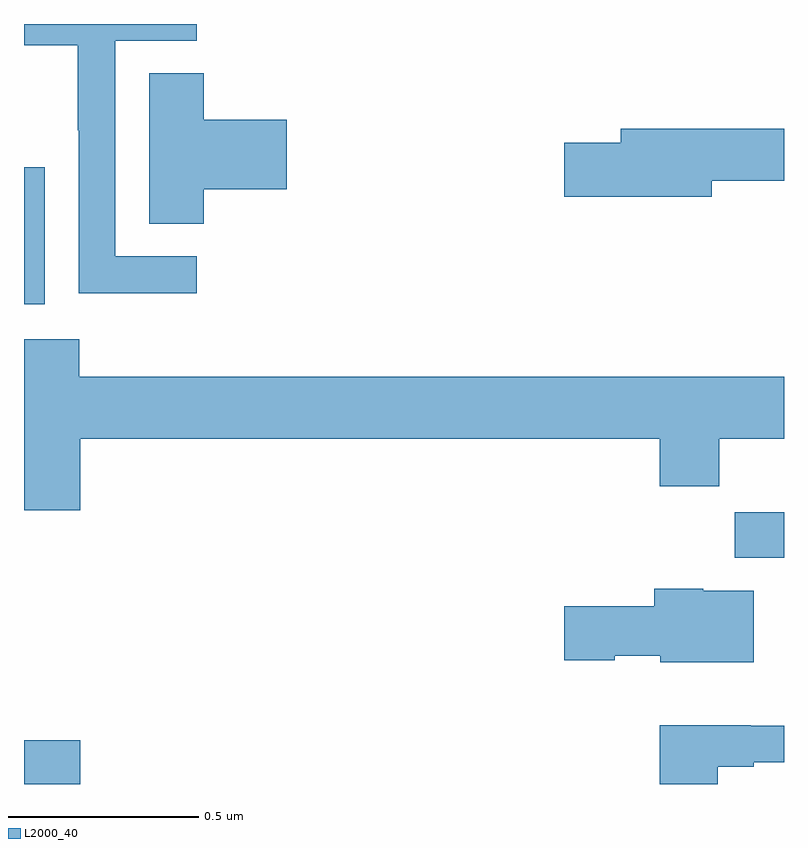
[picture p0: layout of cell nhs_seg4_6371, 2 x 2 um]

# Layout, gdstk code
import gdstk
lib = gdstk.Library(unit=1e-6, precision=1e-09)
def R(c, l, rs):  # rectangles x0, y0, x1, y1
    for r in rs: c.add(gdstk.rectangle(r[:2], r[2:], *l))
def P(c, l, *ps):  # polygons
    for p in ps: c.add(gdstk.Polygon(p, *l))
L2000_40 = (2000, 40)

nhs_seg4_6371 = lib.new_cell('nhs_seg4_6371')
R(nhs_seg4_6371, L2000_40, [(189,807.9,189.148,808.015), (190.87,808.496,191,808.615), (189,809.162,189.055,809.523)])
P(nhs_seg4_6371, L2000_40, [(189.454,809.289),(189.24,809.289),(189.24,809.856),(189.454,809.856),(189.454,809.9),(189,809.9),(189,809.844),(189.142,809.844),(189.142,809.62),(189.144,809.62),(189.144,809.191),(189.454,809.191)],
  [(189.473,809.465),(189.691,809.465),(189.691,809.648),(189.473,809.648),(189.473,809.771),(189.329,809.771),(189.329,809.374),(189.473,809.374)],
  [(190.81,809.488),(191,809.488),(191,809.624),(190.571,809.624),(190.571,809.588),(190.422,809.588),(190.422,809.446),(190.81,809.446)],
  [(189.148,808.808),(190.673,808.808),(190.673,808.684),(190.829,808.684),(190.829,808.808),(191,808.808),(191,808.972),(189.146,808.972),(189.146,809.071),(189,809.071),(189,808.62),(189.148,808.62)],
  [(190.921,808.408),(190.788,808.408),(190.788,808.414),(190.658,808.414),(190.658,808.368),(190.422,808.368),(190.422,808.226),(190.554,808.226),(190.554,808.238),(190.674,808.238),(190.674,808.22),(190.921,808.22)],
  [(190.825,807.945),(190.921,807.945),(190.921,807.957),(191,807.957),(191,808.053),(190.913,808.053),(190.913,808.054),(190.673,808.054),(190.673,807.9),(190.825,807.9)])

lib.write_gds('nhs_seg4_6371.gds')
